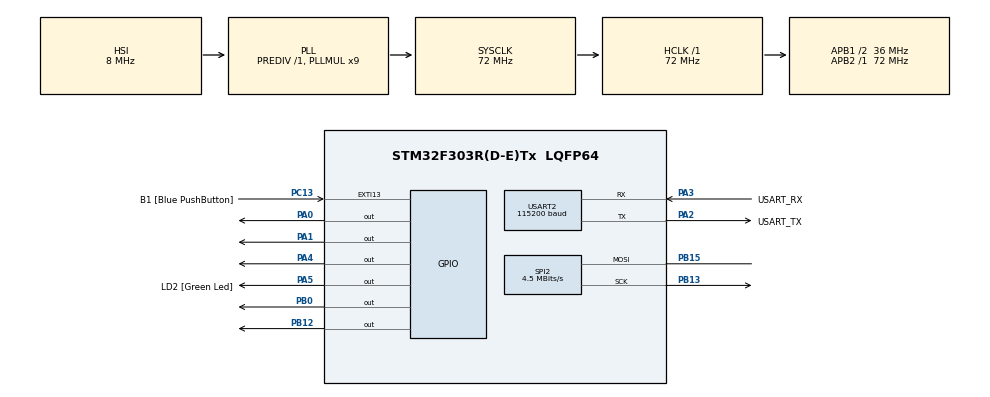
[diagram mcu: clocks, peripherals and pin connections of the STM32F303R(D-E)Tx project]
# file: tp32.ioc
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Mcu.Family=STM32F3
Mcu.Name=STM32F303R(D-E)Tx
Mcu.Package=LQFP64
NVIC.PriorityGroup=NVIC_PRIORITYGROUP_0
PA0.Signal=GPIO_Output
PA1.Signal=GPIO_Output
PA13.GPIO_Label=TMS
PA13.Mode=Serial_Wire
PA13.Signal=SYS_JTMS-SWDIO
PA14.GPIO_Label=TCK
PA14.Mode=Serial_Wire
PA14.Signal=SYS_JTCK-SWCLK
PA2.GPIO_Label=USART_TX
PA2.GPIO_Mode=GPIO_MODE_AF_PP
PA2.GPIO_PuPd=GPIO_NOPULL
PA2.GPIO_Speed=GPIO_SPEED_FREQ_LOW
PA2.Mode=Asynchronous
PA2.Signal=USART2_TX
PA3.GPIO_Label=USART_RX
PA3.GPIO_Mode=GPIO_MODE_AF_PP
PA3.GPIO_PuPd=GPIO_NOPULL
PA3.GPIO_Speed=GPIO_SPEED_FREQ_LOW
PA3.Mode=Asynchronous
PA3.Signal=USART2_RX
PA4.Signal=GPIO_Output
PA5.GPIO_Label=LD2 [Green Led]
PA5.GPIO_Mode=GPIO_MODE_OUTPUT_PP
PA5.GPIO_PuPd=GPIO_NOPULL
PA5.GPIO_Speed=GPIO_SPEED_FREQ_LOW
PA5.Signal=GPIO_Output
PB0.Signal=GPIO_Output
PB12.Signal=GPIO_Output
PB13.Mode=Simplex_Bidirectional_Master
PB13.Signal=SPI2_SCK
PB15.Mode=Simplex_Bidirectional_Master
PB15.Signal=SPI2_MOSI
PB3.GPIO_Label=SWO
PB3.Signal=SYS_JTDO-TRACESWO
PC13.GPIO_Label=B1 [Blue PushButton]
PC13.GPIO_ModeDefaultEXTI=GPIO_MODE_IT_FALLING
PC13.Signal=GPXTI13
PC14-OSC32_IN.Mode=LSE-External-Oscillator
PC14-OSC32_IN.Signal=RCC_OSC32_IN
PC15-OSC32_OUT.Mode=LSE-External-Oscillator
PC15-OSC32_OUT.Signal=RCC_OSC32_OUT
PF0-OSC_IN.Mode=HSE-External-Clock-Source
PF0-OSC_IN.Signal=RCC_OSC_IN
PF1-OSC_OUT.Signal=RCC_OSC_OUT
ProjectManager.HeapSize=0x200
ProjectManager.StackSize=0x400
ProjectManager.TargetToolchain=TrueSTUDIO
RCC.AHBFreq_Value=72000000
RCC.APB1CLKDivider=RCC_HCLK_DIV2
RCC.APB1Freq_Value=36000000
RCC.APB1TimFreq_Value=72000000
RCC.APB2Freq_Value=72000000
RCC.APB2TimFreq_Value=72000000
RCC.CortexFreq_Value=72000000
RCC.HCLKFreq_Value=72000000
RCC.HSE_VALUE=8000000
RCC.HSI_VALUE=8000000
RCC.PLLM=8
RCC.PLLMUL=RCC_PLL_MUL9
RCC.PLLN=336
RCC.PLLP=RCC_PLLP_DIV4
RCC.PLLQ=7
RCC.RCC_PLLsource_Clock_Source_FROM_HSE=RCC_HSE_PREDIV_DIV2
RCC.SYSCLKFreq_VALUE=72000000
RCC.SYSCLKSourceVirtual=RCC_SYSCLKSOURCE_PLLCLK
RCC.USBFreq_Value=72000000
SPI2.BaudRatePrescaler=SPI_BAUDRATEPRESCALER_8
SPI2.CLKPhase=SPI_PHASE_2EDGE
SPI2.CLKPolarity=SPI_POLARITY_HIGH
SPI2.CalculateBaudRate=4.5 MBits/s
SPI2.DataSize=SPI_DATASIZE_8BIT
SPI2.Direction=SPI_DIRECTION_1LINE
SPI2.Mode=SPI_MODE_MASTER
SPI2.VirtualType=VM_MASTER
USART2.BaudRate=115200
USART2.VirtualMode-Asynchronous=VM_ASYNC
USART2.WordLength=WORDLENGTH_8B
board=NUCLEO-F303RE

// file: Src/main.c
/**
  ******************************************************************************
  * @file           : main.c
  * @brief          : Main program body
  ******************************************************************************
  ** This notice applies to any and all portions of this file
  * that are not between comment pairs USER CODE BEGIN and
  * USER CODE END. Other portions of this file, whether
  * inserted by the user or by software development tools
  * are owned by their respective copyright owners.
  *
  * COPYRIGHT(c) 2026 STMicroelectronics
  *
  * Redistribution and use in source and binary forms, with or without modification,
  * are permitted provided that the following conditions are met:
  *   1. Redistributions of source code must retain the above copyright notice,
  *      this list of conditions and the following disclaimer.
  *   2. Redistributions in binary form must reproduce the above copyright notice,
  *      this list of conditions and the following disclaimer in the documentation
  *      and/or other materials provided with the distribution.
  *   3. Neither the name of STMicroelectronics nor the names of its contributors
  *      may be used to endorse or promote products derived from this software
  *      without specific prior written permission.
  *
  * THIS SOFTWARE IS PROVIDED BY THE COPYRIGHT HOLDERS AND CONTRIBUTORS "AS IS"
  * AND ANY EXPRESS OR IMPLIED WARRANTIES, INCLUDING, BUT NOT LIMITED TO, THE
  * IMPLIED WARRANTIES OF MERCHANTABILITY AND FITNESS FOR A PARTICULAR PURPOSE ARE
  * DISCLAIMED. IN NO EVENT SHALL THE COPYRIGHT HOLDER OR CONTRIBUTORS BE LIABLE
  * FOR ANY DIRECT, INDIRECT, INCIDENTAL, SPECIAL, EXEMPLARY, OR CONSEQUENTIAL
  * DAMAGES (INCLUDING, BUT NOT LIMITED TO, PROCUREMENT OF SUBSTITUTE GOODS OR
  * SERVICES; LOSS OF USE, DATA, OR PROFITS; OR BUSINESS INTERRUPTION) HOWEVER
  * CAUSED AND ON ANY THEORY OF LIABILITY, WHETHER IN CONTRACT, STRICT LIABILITY,
  * OR TORT (INCLUDING NEGLIGENCE OR OTHERWISE) ARISING IN ANY WAY OUT OF THE USE
  * OF THIS SOFTWARE, EVEN IF ADVISED OF THE POSSIBILITY OF SUCH DAMAGE.
  *
  ******************************************************************************
  */
#include "main.h"
#include "stm32f3xx_hal.h"
#include <stdio.h>
#include <string.h>

SPI_HandleTypeDef hspi2;

UART_HandleTypeDef huart2;

/* USER CODE BEGIN PV */
/* Private variables ---------------------------------------------------------*/
#define ADXL345_CS_PORT GPIOB
#define ADXL345_CS_PIN  GPIO_PIN_12

#define ADXL345_CS_LOW()  HAL_GPIO_WritePin(ADXL345_CS_PORT, ADXL345_CS_PIN, GPIO_PIN_RESET)
#define ADXL345_CS_HIGH() HAL_GPIO_WritePin(ADXL345_CS_PORT, ADXL345_CS_PIN, GPIO_PIN_SET)
#define DELAY 500
/* USER CODE END PV */

void SystemClock_Config(void);
static void MX_GPIO_Init(void);
static void MX_USART2_UART_Init(void);
static void MX_SPI2_Init(void);

/* USER CODE BEGIN PFP */
/* Private function prototypes -----------------------------------------------*/

/* USER CODE END PFP */

/* USER CODE BEGIN 0 */
void ADXL345_WriteReg(uint8_t reg, uint8_t data) {
    uint8_t tx_buf[2];
    tx_buf[0] = reg & 0x3F;   /* bit7=0(Write), bit6=0(Single) */
    tx_buf[1] = data;

    ADXL345_CS_LOW();
    SPI_1LINE_TX(&hspi2);
    __HAL_SPI_ENABLE(&hspi2);
    HAL_SPI_Transmit(&hspi2, tx_buf, 2, DELAY);
    ADXL345_CS_HIGH();
}

uint8_t ADXL345_ReadReg(uint8_t reg) {
    uint8_t tx = reg | 0x80;  /* bit7=1(Read), bit6=0(Single) */
    uint8_t rx = 0;

    ADXL345_CS_LOW();
    SPI_1LINE_TX(&hspi2);
    __HAL_SPI_ENABLE(&hspi2);
    HAL_SPI_Transmit(&hspi2, &tx, 1, DELAY);

    SPI_1LINE_RX(&hspi2);
    HAL_SPI_Receive(&hspi2, &rx, 1, DELAY);
    ADXL345_CS_HIGH();

    return rx;
}

/* ------------------------------------------------------------------ */
/*  3-wire 連續讀取（修正版：補上方向切換）                              */
/* ------------------------------------------------------------------ */
void ADXL345_3W_ReadMulti(uint8_t reg, uint8_t *buf, uint8_t len) {
    uint8_t tx = reg | 0xC0;  /* bit7=1(Read), bit6=1(Multi) */

    ADXL345_CS_LOW();

    /* 送命令：強制 Output 方向 */
    SPI_1LINE_TX(&hspi2);
    __HAL_SPI_ENABLE(&hspi2);
    HAL_SPI_Transmit(&hspi2, &tx, 1, DELAY);

    /* 收資料：切換為 Input 方向 */
    SPI_1LINE_RX(&hspi2);
    HAL_SPI_Receive(&hspi2, buf, len, DELAY);

    ADXL345_CS_HIGH();
}

/* ------------------------------------------------------------------ */
/*  XYZ 讀取                                                            */
/* ------------------------------------------------------------------ */
void ADXL345_ReadXYZ(int16_t *x, int16_t *y, int16_t *z) {
    uint8_t raw[6] = {0};
    ADXL345_3W_ReadMulti(0x32, raw, 6);

    /* Debug：把 raw bytes 全部印出來，方便確認對齊是否正確 */
    char buf[80];
    sprintf(buf, "[RAW_BYTES] %02X %02X %02X %02X %02X %02X\r\n",
            raw[0], raw[1], raw[2], raw[3], raw[4], raw[5]);
    HAL_UART_Transmit(&huart2, (uint8_t *)buf, strlen(buf), DELAY);

    *x = (int16_t)((raw[1] << 8) | raw[0]);
    *y = (int16_t)((raw[3] << 8) | raw[2]);
    *z = (int16_t)((raw[5] << 8) | raw[4]);
}

/* ------------------------------------------------------------------ */
/*  輸出                                                                */
/* ------------------------------------------------------------------ */
void Debug_SprintfExample(int16_t x, int16_t y, int16_t z) {
    char buf[64];
    sprintf(buf, "[DATA] raw X=%6d  Y=%6d  Z=%6d\r\n", x, y, z);
    HAL_UART_Transmit(&huart2, (uint8_t *)buf, strlen(buf), DELAY);
}
void Debug_PrintXYZ(int16_t x, int16_t y, int16_t z) {
     char buf[100] = {0};

//    /* 原始值輸出 */
//    sprintf(buf, "[RAW]  X=%6d  Y=%6d  Z=%6d\r\n", x, y, z);
//    HAL_UART_Transmit(&huart2, (uint8_t *)buf, strlen(buf), DELAY);

    /* 3.9mg/LSB */
    int32_t gx_01mg = (int32_t)x * 39;
    int32_t gy_01mg = (int32_t)y * 39;
    int32_t gz_01mg = (int32_t)z * 39;

//    char sx = (gx_01mg < 0) ? '-' : '+';
//    char sy = (gy_01mg < 0) ? '-' : '+';
//    char sz = (gz_01mg < 0) ? '-' : '+';
//
//    uint32_t ax = (gx_01mg < 0) ? -gx_01mg : gx_01mg;
//    uint32_t ay = (gy_01mg < 0) ? -gy_01mg : gy_01mg;
//    uint32_t az = (gz_01mg < 0) ? -gz_01mg : gz_01mg;

    int32_t gx_val = ((int32_t)x * 39) / 100;
    int32_t gy_val = ((int32_t)y * 39) / 100;
    int32_t gz_val = ((int32_t)z * 39) / 100;

    /* 2. 判斷正負號 */
    char sx2 = (gx_val < 0) ? '-' : '+';
    char sy2 = (gy_val < 0) ? '-' : '+';
    char sz2 = (gz_val < 0) ? '-' : '+';

    /* 3. 取絕對值，轉為無號數 */
    uint32_t ax2 = (gx_val < 0) ? -gx_val : gx_val;
    uint32_t ay2 = (gy_val < 0) ? -gy_val : gy_val;
    uint32_t az2 = (gz_val < 0) ? -gz_val : gz_val;

//    /* ax / 10 取出 mg 整數部分，ax % 10 取出小數點後第一位 */
//    sprintf(buf, "[G]    X=%c%lu.%lu mg  Y=%c%lu.%lu mg  Z=%c%lu.%lu mg\r\n",
//            sx, ax / 10, ax % 10,
//            sy, ay / 10, ay % 10,
//            sz, az / 10, az % 10);
//    HAL_UART_Transmit(&huart2, (uint8_t *)buf, strlen(buf), DELAY);
    sprintf(buf, "[G]    X=%c%lu.%02lu g  Y=%c%lu.%02lu g  Z=%c%lu.%02lu g\r\n",
                sx2, ax2 / 100, ax2 % 100,
                sy2, ay2 / 100, ay2 % 100,
                sz2, az2 / 100, az2 % 100);
    HAL_UART_Transmit(&huart2, (uint8_t *)buf, strlen(buf), DELAY);

}

/* ------------------------------------------------------------------ */
/*  初始化與 ID 驗證                                                    */
/* ------------------------------------------------------------------ */
void Test_ADXL345_3W_ID(void) {
    char buf[80] = {0};
    uint8_t id = 0;

    ADXL345_CS_HIGH();
    HAL_Delay(10);

    sprintf(buf, "[DBG] CR1=0x%04lX\r\n", (uint32_t)hspi2.Instance->CR1);
    HAL_UART_Transmit(&huart2, (uint8_t *)buf, strlen(buf), DELAY);

    /* 寫入 3-wire 模式 */
    sprintf(buf, "[INFO] Forcing 3-Wire Mode (DATA_FORMAT=0x4B)...\r\n");
    HAL_UART_Transmit(&huart2, (uint8_t *)buf, strlen(buf), DELAY);
    ADXL345_WriteReg(0x31, 0x4B);
    HAL_Delay(10);

    /* 讀回 DATA_FORMAT 確認寫入 */
    uint8_t df = ADXL345_ReadReg(0x31);
    sprintf(buf, "[DBG] DATA_FORMAT=0x%02X (expect 0x4B) %s\r\n",
            df, (df == 0x4B) ? "OK" : "MISMATCH!");
    HAL_UART_Transmit(&huart2, (uint8_t *)buf, strlen(buf), DELAY);

    /* 讀 Device ID 5 次 */
    for (uint8_t i = 1; i <= 5; i++) {
        id = ADXL345_ReadReg(0x00);
        sprintf(buf, "[DBG] ID %d/5 = 0x%02X %s\r\n",
                i, id, (id == 0xE5) ? "OK" : "FAIL");
        HAL_UART_Transmit(&huart2, (uint8_t *)buf, strlen(buf), DELAY);
        HAL_Delay(DELAY);
    }

    if (id == 0xE5) {
        ADXL345_WriteReg(0x2C, 0x0A);  /* BW_RATE: 100Hz */
        ADXL345_WriteReg(0x2D, 0x08);  /* POWER_CTL: Measure */

        /* 讀回確認 */
        uint8_t bw  = ADXL345_ReadReg(0x2C);
        uint8_t pwr = ADXL345_ReadReg(0x2D);
        sprintf(buf, "[DBG] BW_RATE=0x%02X(exp 0x0A) POWER_CTL=0x%02X(exp 0x08)\r\n",
                bw, pwr);
        HAL_UART_Transmit(&huart2, (uint8_t *)buf, strlen(buf), DELAY);

        sprintf(buf, "[INFO] ADXL345 3-Wire Init Done.\r\n");
        HAL_UART_Transmit(&huart2, (uint8_t *)buf, strlen(buf), DELAY);
    } else {
        sprintf(buf, "[FATAL] ID Error. Halted.\r\n");
        HAL_UART_Transmit(&huart2, (uint8_t *)buf, strlen(buf), DELAY);
        while (1);  /* 停在這裡，不進入主迴圈 */
    }
}

/* USER CODE END 0 */

int main(void)
{

  /* MCU Configuration----------------------------------------------------------*/

  /* Reset of all peripherals, Initializes the Flash interface and the Systick. */
  HAL_Init();

  /* Configure the system clock */
  SystemClock_Config();

  /* Initialize all configured peripherals */
  MX_GPIO_Init();
  MX_USART2_UART_Init();
  MX_SPI2_Init();
  /* USER CODE BEGIN 2 */
  Test_ADXL345_3W_ID();
  /* USER CODE END 2 */
  int16_t ax, ay, az;

  /* Infinite loop */
  while (1)
  {

  /* USER CODE BEGIN 3 */
	  ADXL345_ReadXYZ(&ax, &ay, &az);
	          // Debug_SprintfExample(ax, ay, az);
	          Debug_PrintXYZ(ax, ay, az);

	          HAL_Delay(5000);
  /* USER CODE END 3 */

}
}
void SystemClock_Config(void)
{

  RCC_OscInitTypeDef RCC_OscInitStruct;
  RCC_ClkInitTypeDef RCC_ClkInitStruct;
  RCC_PeriphCLKInitTypeDef PeriphClkInit;

    /**Initializes the CPU, AHB and APB busses clocks
    */
  RCC_OscInitStruct.OscillatorType = RCC_OSCILLATORTYPE_HSI;
  RCC_OscInitStruct.HSIState = RCC_HSI_ON;
  RCC_OscInitStruct.HSICalibrationValue = 16;
  RCC_OscInitStruct.PLL.PLLState = RCC_PLL_ON;
  RCC_OscInitStruct.PLL.PLLSource = RCC_PLLSOURCE_HSI;
  RCC_OscInitStruct.PLL.PLLMUL = RCC_PLL_MUL9;
  RCC_OscInitStruct.PLL.PREDIV = RCC_PREDIV_DIV1;
  if (HAL_RCC_OscConfig(&RCC_OscInitStruct) != HAL_OK)
  {
    _Error_Handler(__FILE__, __LINE__);
  }

    /**Initializes the CPU, AHB and APB busses clocks
    */
  RCC_ClkInitStruct.ClockType = RCC_CLOCKTYPE_HCLK|RCC_CLOCKTYPE_SYSCLK
                              |RCC_CLOCKTYPE_PCLK1|RCC_CLOCKTYPE_PCLK2;
  RCC_ClkInitStruct.SYSCLKSource = RCC_SYSCLKSOURCE_PLLCLK;
  RCC_ClkInitStruct.AHBCLKDivider = RCC_SYSCLK_DIV1;
  RCC_ClkInitStruct.APB1CLKDivider = RCC_HCLK_DIV2;
  RCC_ClkInitStruct.APB2CLKDivider = RCC_HCLK_DIV1;

  if (HAL_RCC_ClockConfig(&RCC_ClkInitStruct, FLASH_LATENCY_2) != HAL_OK)
  {
    _Error_Handler(__FILE__, __LINE__);
  }

  PeriphClkInit.PeriphClockSelection = RCC_PERIPHCLK_USART2;
  PeriphClkInit.Usart2ClockSelection = RCC_USART2CLKSOURCE_PCLK1;
  if (HAL_RCCEx_PeriphCLKConfig(&PeriphClkInit) != HAL_OK)
  {
    _Error_Handler(__FILE__, __LINE__);
  }

    /**Configure the Systick interrupt time
    */
  HAL_SYSTICK_Config(HAL_RCC_GetHCLKFreq()/1000);

    /**Configure the Systick
    */
  HAL_SYSTICK_CLKSourceConfig(SYSTICK_CLKSOURCE_HCLK);

  /* SysTick_IRQn interrupt configuration */
  HAL_NVIC_SetPriority(SysTick_IRQn, 0, 0);
}

/* SPI2 init function */
static void MX_SPI2_Init(void)
{

  /* SPI2 parameter configuration*/
  hspi2.Instance = SPI2;
  hspi2.Init.Mode = SPI_MODE_MASTER;
  hspi2.Init.Direction = SPI_DIRECTION_1LINE;
  hspi2.Init.DataSize = SPI_DATASIZE_8BIT;
  hspi2.Init.CLKPolarity = SPI_POLARITY_HIGH;
  hspi2.Init.CLKPhase = SPI_PHASE_2EDGE;
  hspi2.Init.NSS = SPI_NSS_SOFT;
  hspi2.Init.BaudRatePrescaler = SPI_BAUDRATEPRESCALER_8;
  hspi2.Init.FirstBit = SPI_FIRSTBIT_MSB;
  hspi2.Init.TIMode = SPI_TIMODE_DISABLE;
  hspi2.Init.CRCCalculation = SPI_CRCCALCULATION_DISABLE;
  hspi2.Init.CRCPolynomial = 7;
  hspi2.Init.CRCLength = SPI_CRC_LENGTH_DATASIZE;
  hspi2.Init.NSSPMode = SPI_NSS_PULSE_DISABLE;
  if (HAL_SPI_Init(&hspi2) != HAL_OK)
  {
    _Error_Handler(__FILE__, __LINE__);
  }

}

/* USART2 init function */
static void MX_USART2_UART_Init(void)
{

  huart2.Instance = USART2;
  huart2.Init.BaudRate = 115200;
  huart2.Init.WordLength = UART_WORDLENGTH_8B;
  huart2.Init.StopBits = UART_STOPBITS_1;
  huart2.Init.Parity = UART_PARITY_NONE;
  huart2.Init.Mode = UART_MODE_TX_RX;
  huart2.Init.HwFlowCtl = UART_HWCONTROL_NONE;
  huart2.Init.OverSampling = UART_OVERSAMPLING_16;
  huart2.Init.OneBitSampling = UART_ONE_BIT_SAMPLE_DISABLE;
  huart2.AdvancedInit.AdvFeatureInit = UART_ADVFEATURE_NO_INIT;
  if (HAL_UART_Init(&huart2) != HAL_OK)
  {
    _Error_Handler(__FILE__, __LINE__);
  }

}

/** Configure pins as
        * Analog
        * Input
        * Output
        * EVENT_OUT
        * EXTI
*/
static void MX_GPIO_Init(void)
{

  GPIO_InitTypeDef GPIO_InitStruct;

  /* GPIO Ports Clock Enable */
  __HAL_RCC_GPIOC_CLK_ENABLE();
  __HAL_RCC_GPIOF_CLK_ENABLE();
  __HAL_RCC_GPIOA_CLK_ENABLE();
  __HAL_RCC_GPIOB_CLK_ENABLE();

  /*Configure GPIO pin Output Level */
  HAL_GPIO_WritePin(GPIOA, GPIO_PIN_0|GPIO_PIN_1|GPIO_PIN_4|LD2_Pin, GPIO_PIN_RESET);

  /*Configure GPIO pin Output Level */
  HAL_GPIO_WritePin(GPIOB, GPIO_PIN_0|GPIO_PIN_12, GPIO_PIN_RESET);

  /*Configure GPIO pin : B1_Pin */
  GPIO_InitStruct.Pin = B1_Pin;
  GPIO_InitStruct.Mode = GPIO_MODE_IT_FALLING;
  GPIO_InitStruct.Pull = GPIO_NOPULL;
  HAL_GPIO_Init(B1_GPIO_Port, &GPIO_InitStruct);

  /*Configure GPIO pins : PA0 PA1 PA4 LD2_Pin */
  GPIO_InitStruct.Pin = GPIO_PIN_0|GPIO_PIN_1|GPIO_PIN_4|LD2_Pin;
  GPIO_InitStruct.Mode = GPIO_MODE_OUTPUT_PP;
  GPIO_InitStruct.Pull = GPIO_NOPULL;
  GPIO_InitStruct.Speed = GPIO_SPEED_FREQ_LOW;
  HAL_GPIO_Init(GPIOA, &GPIO_InitStruct);

  /*Configure GPIO pins : PB0 PB12 */
  GPIO_InitStruct.Pin = GPIO_PIN_0|GPIO_PIN_12;
  GPIO_InitStruct.Mode = GPIO_MODE_OUTPUT_PP;
  GPIO_InitStruct.Pull = GPIO_NOPULL;
  GPIO_InitStruct.Speed = GPIO_SPEED_FREQ_LOW;
  HAL_GPIO_Init(GPIOB, &GPIO_InitStruct);

}

void _Error_Handler(char *file, int line)
{
  while(1)
  {
  }
}

/************************ (C) COPYRIGHT STMicroelectronics *****END OF FILE****/
